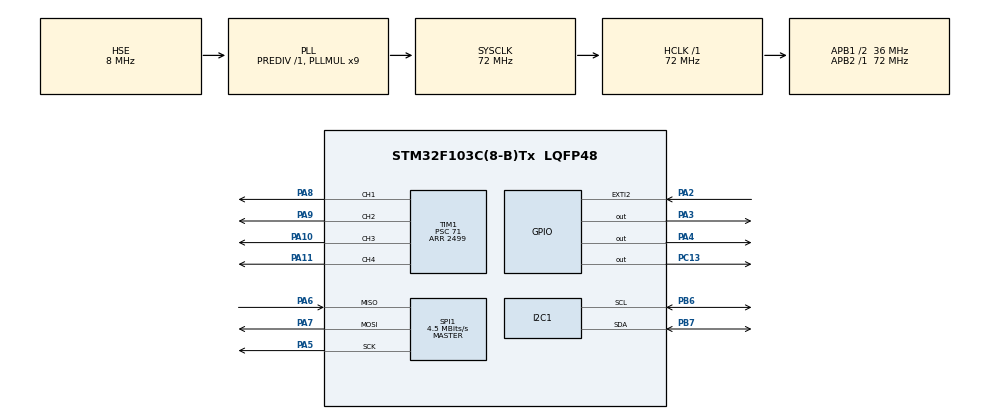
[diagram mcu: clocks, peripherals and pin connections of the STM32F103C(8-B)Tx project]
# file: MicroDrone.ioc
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FREERTOS.Tasks01=defaultTask,24,128,StartDefaultTask,Default,NULL,Dynamic,NULL,NULL;IMUTask,48,160,OS_IMUCallback,As weak,NULL,Dynamic,NULL,NULL;ControlTask,40,140,OS_ControlCallback,As weak,NULL,Dynamic,NULL,NULL;RcTask,32,128,OS_RcCallback,As weak,NULL,Dynamic,NULL,NULL
I2C1.I2C_Mode=I2C_Fast
Mcu.Family=STM32F1
Mcu.Name=STM32F103C(8-B)Tx
Mcu.Package=LQFP48
NVIC.EXTI2_IRQn=true\:5\:0\:true\:false\:true\:true\:true\:true\:true
NVIC.PriorityGroup=NVIC_PRIORITYGROUP_4
NVIC.TIM2_IRQn=true\:15\:0\:false\:false\:true\:false\:true\:true\:true
NVIC.TimeBase=TIM2_IRQn
NVIC.TimeBaseIP=TIM2
PA10.Signal=S_TIM1_CH3
PA11.Signal=S_TIM1_CH4
PA13.Mode=Serial_Wire
PA13.Signal=SYS_JTMS-SWDIO
PA14.Mode=Serial_Wire
PA14.Signal=SYS_JTCK-SWCLK
PA2.GPIO_ModeDefaultEXTI=GPIO_MODE_IT_FALLING
PA2.GPIO_PuPd=GPIO_PULLUP
PA2.Signal=GPXTI2
PA3.PinState=GPIO_PIN_RESET
PA3.Signal=GPIO_Output
PA4.PinState=GPIO_PIN_SET
PA4.Signal=GPIO_Output
PA5.Mode=Full_Duplex_Master
PA5.Signal=SPI1_SCK
PA6.Mode=Full_Duplex_Master
PA6.Signal=SPI1_MISO
PA7.Mode=Full_Duplex_Master
PA7.Signal=SPI1_MOSI
PA8.Signal=S_TIM1_CH1
PA9.Signal=S_TIM1_CH2
PB6.Mode=I2C
PB6.Signal=I2C1_SCL
PB7.Mode=I2C
PB7.Signal=I2C1_SDA
PC13-TAMPER-RTC.Signal=GPIO_Output
PD0-OSC_IN.Mode=HSE-External-Oscillator
PD0-OSC_IN.Signal=RCC_OSC_IN
PD1-OSC_OUT.Mode=HSE-External-Oscillator
PD1-OSC_OUT.Signal=RCC_OSC_OUT
ProjectManager.HeapSize=0x200
ProjectManager.StackSize=0x400
ProjectManager.TargetToolchain=MDK-ARM V5.32
RCC.AHBFreq_Value=72000000
RCC.APB1CLKDivider=RCC_HCLK_DIV2
RCC.APB1Freq_Value=36000000
RCC.APB1TimFreq_Value=72000000
RCC.APB2Freq_Value=72000000
RCC.APB2TimFreq_Value=72000000
RCC.HCLKFreq_Value=72000000
RCC.PLLMUL=RCC_PLL_MUL9
RCC.PLLSourceVirtual=RCC_PLLSOURCE_HSE
RCC.SYSCLKFreq_VALUE=72000000
RCC.SYSCLKSource=RCC_SYSCLKSOURCE_PLLCLK
RCC.USBFreq_Value=72000000
SH.S_TIM1_CH1.0=TIM1_CH1,PWM Generation1 CH1
SH.S_TIM1_CH2.0=TIM1_CH2,PWM Generation2 CH2
SH.S_TIM1_CH3.0=TIM1_CH3,PWM Generation3 CH3
SH.S_TIM1_CH4.0=TIM1_CH4,PWM Generation4 CH4
SPI1.BaudRatePrescaler=SPI_BAUDRATEPRESCALER_16
SPI1.CalculateBaudRate=4.5 MBits/s
SPI1.Direction=SPI_DIRECTION_2LINES
SPI1.Mode=SPI_MODE_MASTER
SPI1.VirtualType=VM_MASTER
TIM1.AutoReloadPreload=TIM_AUTORELOAD_PRELOAD_ENABLE
TIM1.Channel-PWM\ Generation1\ CH1=TIM_CHANNEL_1
TIM1.Channel-PWM\ Generation2\ CH2=TIM_CHANNEL_2
TIM1.Channel-PWM\ Generation3\ CH3=TIM_CHANNEL_3
TIM1.Channel-PWM\ Generation4\ CH4=TIM_CHANNEL_4
TIM1.Period=2499
TIM1.Prescaler=71
VP_FREERTOS_VS_CMSIS_V2.Mode=CMSIS_V2
VP_SYS_VS_tim2.Mode=TIM2
board=custom

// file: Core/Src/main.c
/* USER CODE BEGIN Header */
/**
  ******************************************************************************
  * @file           : main.c
  * @brief          : Main program body
  ******************************************************************************
  * @attention
  *
  * Copyright (c) 2026 STMicroelectronics.
  * All rights reserved.
  *
  * This software is licensed under terms that can be found in the LICENSE file
  * in the root directory of this software component.
  * If no LICENSE file comes with this software, it is provided AS-IS.
  *
  ******************************************************************************
  */
/* USER CODE END Header */
#include "main.h"
#include "cmsis_os.h"
#include "i2c.h"
#include "spi.h"
#include "tim.h"
#include "gpio.h"

/* USER CODE BEGIN Includes */

#include "mpu6050.h"
#include "motor.h"
#include "pid.h"
#include "control.h"
#include "rc.h"
#include "SPI_rc.h"

/* USER CODE END Includes */

/* USER CODE BEGIN PV */

volatile uint32_t last_ACK_tick = 0;

/* USER CODE END PV */

void SystemClock_Config(void);
void MX_FREERTOS_Init(void);

int main(void)
{

  /* MCU Configuration--------------------------------------------------------*/

  /* Reset of all peripherals, Initializes the Flash interface and the Systick. */
  HAL_Init();

  /* Configure the system clock */
  SystemClock_Config();

  /* Initialize all configured peripherals */
  MX_GPIO_Init();
  MX_TIM1_Init();
  MX_I2C1_Init();
  MX_SPI1_Init();
  /* USER CODE BEGIN 2 */

  RC_Init();

  // ==================== 对频连接循环 ====================
  {
      int i;
      rc.rc_data_ready_flag = 0;

      while (1)
      {
          if (rc.rc_data_ready_flag == 1)
          {
              rc.rc_data_ready_flag = 0;

              for (i = 0; i < 3; i++)
              {
                  HAL_GPIO_WritePin(GPIOC, GPIO_PIN_13, GPIO_PIN_SET);
                  HAL_Delay(300);
                  HAL_GPIO_WritePin(GPIOC, GPIO_PIN_13, GPIO_PIN_RESET);
                  HAL_Delay(300);
              }
              HAL_GPIO_WritePin(GPIOC, GPIO_PIN_13, GPIO_PIN_RESET);
              break;
          }

          uint8_t bind_ack[8] = {0xBB, 0x22, 0x33, 0x44, 0x55, 0x66, 0x77, 0x88};
          NF04_Write_Ack_Payload(bind_ack);
          HAL_GPIO_TogglePin(GPIOC, GPIO_PIN_13);
          HAL_Delay(150);
      }
  }
  // ======================================================

  HAL_Delay(500);
  MPU6050_initialize();
  DMP_Init();

  Control_PID_Init();
  Motor_Init();

  /* USER CODE END 2 */

  /* Init scheduler */
  osKernelInitialize();
  MX_FREERTOS_Init();

  /* Start scheduler */
  osKernelStart();

  /* We should never get here as control is now taken by the scheduler */

  /* Infinite loop */
  while (1)
  {

  }
}

void SystemClock_Config(void)
{
  RCC_OscInitTypeDef RCC_OscInitStruct = {0};
  RCC_ClkInitTypeDef RCC_ClkInitStruct = {0};

  /** Initializes the RCC Oscillators according to the specified parameters
  * in the RCC_OscInitTypeDef structure.
  */
  RCC_OscInitStruct.OscillatorType = RCC_OSCILLATORTYPE_HSE;
  RCC_OscInitStruct.HSEState = RCC_HSE_ON;
  RCC_OscInitStruct.HSEPredivValue = RCC_HSE_PREDIV_DIV1;
  RCC_OscInitStruct.HSIState = RCC_HSI_ON;
  RCC_OscInitStruct.PLL.PLLState = RCC_PLL_ON;
  RCC_OscInitStruct.PLL.PLLSource = RCC_PLLSOURCE_HSE;
  RCC_OscInitStruct.PLL.PLLMUL = RCC_PLL_MUL9;
  if (HAL_RCC_OscConfig(&RCC_OscInitStruct) != HAL_OK)
  {
    Error_Handler();
  }

  /** Initializes the CPU, AHB and APB buses clocks
  */
  RCC_ClkInitStruct.ClockType = RCC_CLOCKTYPE_HCLK|RCC_CLOCKTYPE_SYSCLK
                              |RCC_CLOCKTYPE_PCLK1|RCC_CLOCKTYPE_PCLK2;
  RCC_ClkInitStruct.SYSCLKSource = RCC_SYSCLKSOURCE_PLLCLK;
  RCC_ClkInitStruct.AHBCLKDivider = RCC_SYSCLK_DIV1;
  RCC_ClkInitStruct.APB1CLKDivider = RCC_HCLK_DIV2;
  RCC_ClkInitStruct.APB2CLKDivider = RCC_HCLK_DIV1;

  if (HAL_RCC_ClockConfig(&RCC_ClkInitStruct, FLASH_LATENCY_2) != HAL_OK)
  {
    Error_Handler();
  }
}

void HAL_TIM_PeriodElapsedCallback(TIM_HandleTypeDef *htim)
{
  if (htim->Instance == TIM2)
  {
    HAL_IncTick();
  }
}

void Error_Handler(void)
{
  __disable_irq();
  while (1)
  {
  }
}

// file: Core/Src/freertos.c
/* USER CODE BEGIN Header */
/**
  ******************************************************************************
  * File Name          : freertos.c
  * Description        : Code for freertos applications
  ******************************************************************************
  * @attention
  *
  * Copyright (c) 2026 STMicroelectronics.
  * All rights reserved.
  *
  * This software is licensed under terms that can be found in the LICENSE file
  * in the root directory of this software component.
  * If no LICENSE file comes with this software, it is provided AS-IS.
  *
  ******************************************************************************
  */
/* USER CODE END Header */

#include "FreeRTOS.h"
#include "task.h"
#include "main.h"
#include "cmsis_os.h"

/* Definitions for defaultTask */
osThreadId_t defaultTaskHandle;
const osThreadAttr_t defaultTask_attributes = {
  .name = "defaultTask",
  .stack_size = 128 * 4,
  .priority = (osPriority_t) osPriorityNormal,
};
/* Definitions for IMUTask */
osThreadId_t IMUTaskHandle;
const osThreadAttr_t IMUTask_attributes = {
  .name = "IMUTask",
  .stack_size = 160 * 4,
  .priority = (osPriority_t) osPriorityRealtime,
};
/* Definitions for ControlTask */
osThreadId_t ControlTaskHandle;
const osThreadAttr_t ControlTask_attributes = {
  .name = "ControlTask",
  .stack_size = 140 * 4,
  .priority = (osPriority_t) osPriorityHigh,
};
/* Definitions for RcTask */
osThreadId_t RcTaskHandle;
const osThreadAttr_t RcTask_attributes = {
  .name = "RcTask",
  .stack_size = 128 * 4,
  .priority = (osPriority_t) osPriorityAboveNormal,
};

void StartDefaultTask(void *argument);
void OS_IMUCallback(void *argument);
void OS_ControlCallback(void *argument);
void OS_RcCallback(void *argument);

void MX_FREERTOS_Init(void); /* (MISRA C 2004 rule 8.1) */

void MX_FREERTOS_Init(void) {

  /* Create the thread(s) */
  /* creation of defaultTask */
  defaultTaskHandle = osThreadNew(StartDefaultTask, NULL, &defaultTask_attributes);

  /* creation of IMUTask */
  IMUTaskHandle = osThreadNew(OS_IMUCallback, NULL, &IMUTask_attributes);

  /* creation of ControlTask */
  ControlTaskHandle = osThreadNew(OS_ControlCallback, NULL, &ControlTask_attributes);

  /* creation of RcTask */
  RcTaskHandle = osThreadNew(OS_RcCallback, NULL, &RcTask_attributes);

}

void StartDefaultTask(void *argument)
{
  for(;;)
  {
    osDelay(1);
  }
}

__weak void OS_IMUCallback(void *argument)
{
  for(;;)
  {
    osDelay(1);
  }
}

__weak void OS_ControlCallback(void *argument)
{
  for(;;)
  {
    osDelay(1);
  }
}

__weak void OS_RcCallback(void *argument)
{
  for(;;)
  {
    osDelay(1);
  }
}
